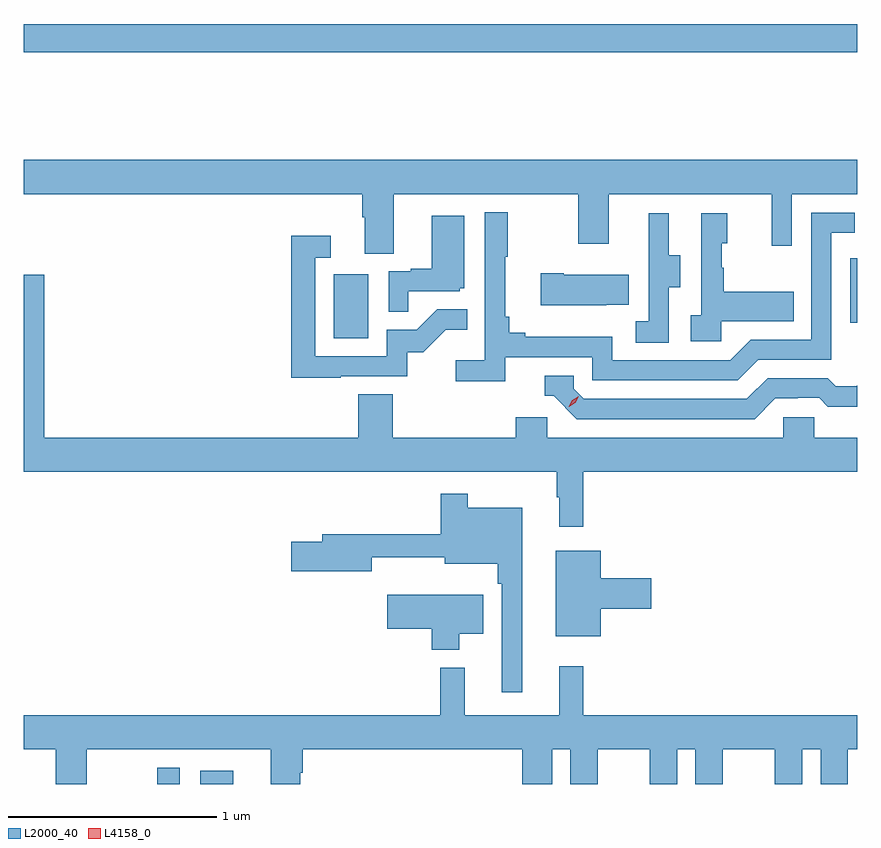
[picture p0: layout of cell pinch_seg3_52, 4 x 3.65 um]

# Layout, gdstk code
import gdstk
lib = gdstk.Library(unit=1e-6, precision=1e-09)
def R(c, l, rs):  # rectangles x0, y0, x1, y1
    for r in rs: c.add(gdstk.rectangle(r[:2], r[2:], *l))
def P(c, l, *ps):  # polygons
    for p in ps: c.add(gdstk.Polygon(p, *l))
L2000_40 = (2000, 40)
L4158_0 = (4158, 0)

pinch_seg3_52 = lib.new_cell('pinch_seg3_52')
R(pinch_seg3_52, L2000_40, [(1068.9,739.378,1069.008,739.456), (1069.106,739.378,1069.264,739.441), (1069.748,741.516,1069.912,741.823), (1072.224,741.591,1072.259,741.9), (1068.259,742.888,1072.259,743.024)])
P(pinch_seg3_52, L2000_40, [(1070.035,742.208),(1070.92,742.208),(1070.92,741.969),(1071.067,741.969),(1071.067,742.208),(1071.848,742.208),(1071.848,741.96),(1071.945,741.96),(1071.945,742.208),(1072.259,742.208),(1072.259,742.372),(1068.259,742.372),(1068.259,742.208),(1069.883,742.208),(1069.883,742.096),(1069.895,742.096),(1069.895,741.922),(1070.035,741.922)],
  [(1070.57,741.426),(1070.988,741.426),(1070.988,741.315),(1071.685,741.315),(1071.784,741.414),(1072.134,741.414),(1072.134,742.023),(1072.247,742.023),(1072.247,742.119),(1072.038,742.119),(1072.038,741.51),(1071.747,741.51),(1071.648,741.411),(1071.084,741.411),(1071.084,741.523),(1070.665,741.523),(1070.665,741.542),(1070.588,741.542),(1070.588,741.619),(1070.569,741.619),(1070.569,741.907),(1070.581,741.907),(1070.581,742.12),(1070.472,742.12),(1070.472,741.412),(1070.331,741.412),(1070.331,741.31),(1070.57,741.31)],
  [(1071.606,741.599),(1071.953,741.599),(1071.953,741.739),(1071.619,741.739),(1071.619,741.854),(1071.609,741.854),(1071.609,741.972),(1071.634,741.972),(1071.634,742.117),(1071.51,742.117),(1071.51,741.626),(1071.459,741.626),(1071.459,741.501),(1071.606,741.501)],
  [(1071.354,741.76),(1071.409,741.76),(1071.409,741.915),(1071.355,741.915),(1071.355,742.117),(1071.257,742.117),(1071.257,741.903),(1071.258,741.903),(1071.258,741.599),(1071.195,741.599),(1071.195,741.496),(1071.354,741.496)],
  [(1070.105,741.741),(1070.352,741.741),(1070.352,741.756),(1070.374,741.756),(1070.374,742.105),(1070.216,742.105),(1070.216,741.85),(1070.117,741.85),(1070.117,741.837),(1070.01,741.837),(1070.01,741.643),(1070.105,741.643)],
  [(1069.781,741.333),(1070.1,741.333),(1070.1,741.45),(1070.176,741.45),(1070.283,741.557),(1070.387,741.557),(1070.387,741.656),(1070.243,741.656),(1070.145,741.558),(1070.001,741.558),(1070.001,741.429),(1069.659,741.429),(1069.659,741.903),(1069.732,741.903),(1069.732,742.009),(1069.543,742.009),(1069.543,741.328),(1069.781,741.328)],
  [(1071.053,741.677),(1071.161,741.677),(1071.161,741.82),(1070.851,741.82),(1070.851,741.828),(1070.739,741.828),(1070.739,741.674),(1071.053,741.674)],
  [(1070.945,740.876),(1072.259,740.876),(1072.259,741.04),(1072.053,741.04),(1072.053,741.138),(1071.903,741.138),(1071.903,741.04),(1070.772,741.04),(1070.772,741.138),(1070.621,741.138),(1070.621,741.04),(1070.03,741.04),(1070.03,741.248),(1069.865,741.248),(1069.865,741.04),(1068.359,741.04),(1068.359,741.82),(1068.259,741.82),(1068.259,740.876),(1070.817,740.876),(1070.817,740.753),(1070.828,740.753),(1070.828,740.613),(1070.945,740.613)],
  [(1071.865,741.228),(1071.972,741.228),(1071.972,741.231),(1072.075,741.231),(1072.117,741.189),(1072.259,741.189),(1072.259,741.288),(1072.255,741.288),(1072.255,741.285),(1072.156,741.285),(1072.117,741.324),(1071.828,741.324),(1071.729,741.225),(1070.946,741.225),(1070.898,741.273),(1070.898,741.336),(1070.759,741.336),(1070.759,741.24),(1070.802,741.24),(1070.913,741.129),(1071.766,741.129)],
  [(1070.65,740.704),(1070.389,740.704),(1070.389,740.77),(1070.26,740.77),(1070.26,740.575),(1069.691,740.575),(1069.691,740.541),(1069.542,740.541),(1069.542,740.399),(1069.93,740.399),(1069.93,740.465),(1070.279,740.465),(1070.279,740.435),(1070.533,740.435),(1070.533,740.339),(1070.553,740.339),(1070.553,739.818),(1070.65,739.818)],
  [(1071.028,740.219),(1071.271,740.219),(1071.271,740.366),(1071.028,740.366),(1071.028,740.497),(1070.813,740.497),(1070.813,740.087),(1071.028,740.087)],
  [(1070.35,740.099),(1070.464,740.099),(1070.464,740.287),(1070.004,740.287),(1070.004,740.122),(1070.216,740.122),(1070.216,740.021),(1070.35,740.021)],
  [(1068.259,739.544),(1068.413,739.544),(1068.413,739.378),(1068.561,739.378),(1068.561,739.544),(1069.445,739.544),(1069.445,739.378),(1069.585,739.378),(1069.585,739.432),(1069.598,739.432),(1069.598,739.544),(1070.651,739.544),(1070.651,739.378),(1070.794,739.378),(1070.794,739.544),(1070.882,739.544),(1070.882,739.378),(1071.013,739.378),(1071.013,739.544),(1071.263,739.544),(1071.263,739.378),(1071.394,739.378),(1071.394,739.544),(1071.482,739.544),(1071.482,739.378),(1071.613,739.378),(1071.613,739.544),(1071.863,739.544),(1071.863,739.378),(1071.994,739.378),(1071.994,739.544),(1072.082,739.544),(1072.082,739.378),(1072.213,739.378),(1072.213,739.544),(1072.259,739.544),(1072.259,739.708),(1070.945,739.708),(1070.945,739.942),(1070.828,739.942),(1070.828,739.708),(1070.375,739.708),(1070.375,739.936),(1070.257,739.936),(1070.257,739.708),(1068.259,739.708)])
P(pinch_seg3_52, L4158_0, [(1070.875,741.187),(1070.875,741.187),(1070.891,741.219),(1070.922,741.239),(1070.922,741.239),(1070.922,741.238),(1070.906,741.206),(1070.876,741.187)])

lib.write_gds('pinch_seg3_52.gds')
